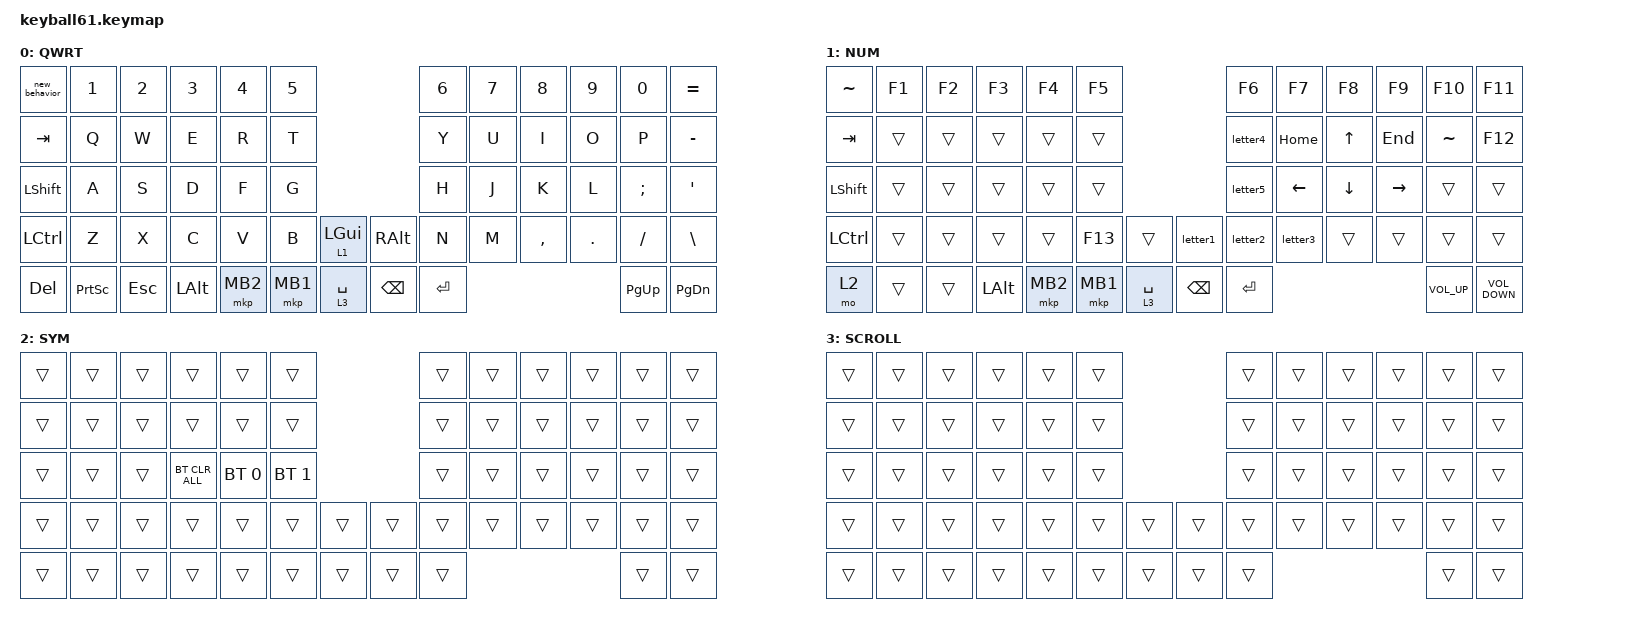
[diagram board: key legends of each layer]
#define DEFAULT 0
#define SYM     1
#define FUN     2
#define SCROLL  3 // Motion Scroll Layer
#define SNIPE   4 // Snipe Mode Layer

#include <behaviors.dtsi>
#include <dt-bindings/zmk/bt.h>
#include <dt-bindings/zmk/keys.h>
#include <dt-bindings/zmk/pointing.h>

&lt {
    tapping-term-ms = <240>;
    flavor = "balanced";
    quick-tap-ms = <150>;
};

&mt {
    tapping-term-ms = <200>;
    flavor = "tap-preferred";
    quick-tap-ms = <150>;
};

/ {
    behaviors {
        letter1: letter1 {
            compatible = "zmk,behavior-tap-dance";
            label = "LETTER1";
            #binding-cells = <0>;
            bindings = <&kp LEFT_BRACKET>, <&kp RIGHT_BRACKET>;
        };

        letter2: letter2 {
            compatible = "zmk,behavior-tap-dance";
            label = "LETTER2";
            #binding-cells = <0>;
            bindings = <&kp LEFT_BRACE>, <&kp RIGHT_BRACE>;
        };

        letter3: letter3 {
            compatible = "zmk,behavior-tap-dance";
            label = "LETTER3";
            #binding-cells = <0>;
            bindings = <&kp LEFT_PARENTHESIS>, <&kp RIGHT_PARENTHESIS>;
        };

        letter5: letter5 {
            compatible = "zmk,behavior-tap-dance";
            label = "LETTER5";
            #binding-cells = <0>;
            bindings = <&kp MINUS>, <&kp UNDERSCORE>;
        };

        letter4: letter4 {
            compatible = "zmk,behavior-tap-dance";
            label = "LETTER4";
            #binding-cells = <0>;
            bindings = <&kp EQUAL>, <&kp PLUS>;
        };

        new_behavior: new_behavior {
            compatible = "zmk,behavior-tap-dance";
            label = "NEW_BEHAVIOR";
            #binding-cells = <0>;
            bindings = <&kp ESCAPE>, <&kp GRAVE>;
        };
    };

    keymap {
        compatible = "zmk,keymap";

        default_layer {
            label = "QWRT";
            bindings = <
&new_behavior   &kp N1           &kp N2   &kp N3    &kp N4    &kp N5                                &kp N6     &kp N7  &kp N8     &kp N9   &kp N0       &kp EQUAL
&kp TAB         &kp Q            &kp W    &kp E     &kp R     &kp T                                 &kp Y      &kp U   &kp I      &kp O    &kp P        &kp MINUS
&kp LEFT_SHIFT  &kp A            &kp S    &kp D     &kp F     &kp G                                 &kp H      &kp J   &kp K      &kp L    &kp SEMI     &kp SQT
&kp LCTRL       &kp Z            &kp X    &kp C     &kp V     &kp B     &lt 1 LGUI   &kp RALT       &kp N      &kp M   &kp COMMA  &kp DOT  &kp FSLH     &kp BACKSLASH
&kp DEL         &kp PRINTSCREEN  &kp ESC  &kp LALT  &mkp MB2  &mkp MB1  &lt 3 SPACE  &kp BACKSPACE  &kp ENTER                              &kp PAGE_UP  &kp PAGE_DOWN
            >;
        };

        number_layer {
            bindings = <
&kp TILDE   &kp F1  &kp F2  &kp F3        &kp F4    &kp F5                                &kp F6     &kp F7    &kp F8    &kp F9     &kp F10          &kp F11
&kp TAB     &trans  &trans  &trans        &trans    &trans                                &letter4   &kp HOME  &kp UP    &kp END    &kp TILDE        &kp F12
&kp LSHIFT  &trans  &trans  &trans        &trans    &trans                                &letter5   &kp LEFT  &kp DOWN  &kp RIGHT  &trans           &trans
&kp LCTRL   &trans  &trans  &trans        &trans    &kp F13   &trans       &letter1       &letter2   &letter3  &trans    &trans     &trans           &trans
&mo 2       &trans  &trans  &kp LEFT_ALT  &mkp MB2  &mkp MB1  &lt 3 SPACE  &kp BACKSPACE  &kp ENTER                                 &kp C_VOLUME_UP  &kp C_VOLUME_DOWN
            >;

            label = "NUM";
        };

        bt {
            label = "SYM";
            bindings = <
&trans  &trans  &trans  &trans          &trans        &trans                        &trans  &trans  &trans  &trans  &trans  &trans
&trans  &trans  &trans  &trans          &trans        &trans                        &trans  &trans  &trans  &trans  &trans  &trans
&trans  &trans  &trans  &bt BT_CLR_ALL  &bt BT_SEL 0  &bt BT_SEL 1                  &trans  &trans  &trans  &trans  &trans  &trans
&trans  &trans  &trans  &trans          &trans        &trans        &trans  &trans  &trans  &trans  &trans  &trans  &trans  &trans
&trans  &trans  &trans  &trans          &trans        &trans        &trans  &trans  &trans                          &trans  &trans
            >;
        };

        scroll_layer {
            label = "SCROLL";
            bindings = <
&trans  &trans  &trans  &trans  &trans  &trans                  &trans  &trans  &trans  &trans  &trans  &trans
&trans  &trans  &trans  &trans  &trans  &trans                  &trans  &trans  &trans  &trans  &trans  &trans
&trans  &trans  &trans  &trans  &trans  &trans                  &trans  &trans  &trans  &trans  &trans  &trans
&trans  &trans  &trans  &trans  &trans  &trans  &trans  &trans  &trans  &trans  &trans  &trans  &trans  &trans
&trans  &trans  &trans  &trans  &trans  &trans  &trans  &trans  &trans                          &trans  &trans
            >;
        };
    };
};
